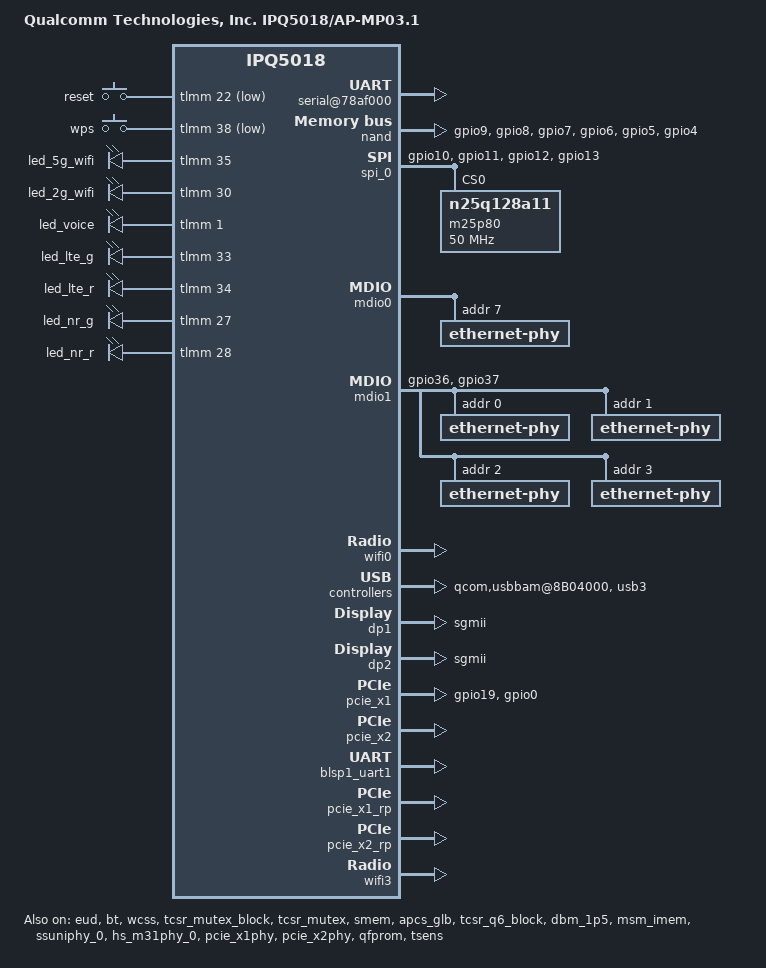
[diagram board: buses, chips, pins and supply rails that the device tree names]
/dts-v1/;
/* Copyright (c) 2018-2020, The Linux Foundation. All rights reserved.
 *
 * Permission to use, copy, modify, and/or distribute this software for any
 * purpose with or without fee is hereby granted, provided that the above
 * copyright notice and this permission notice appear in all copies.
 *
 * THE SOFTWARE IS PROVIDED "AS IS" AND THE AUTHOR DISCLAIMS ALL WARRANTIES
 * WITH REGARD TO THIS SOFTWARE INCLUDING ALL IMPLIED WARRANTIES OF
 * MERCHANTABILITY AND FITNESS. IN NO EVENT SHALL THE AUTHOR BE LIABLE FOR
 * ANY SPECIAL, DIRECT, INDIRECT, OR CONSEQUENTIAL DAMAGES OR ANY DAMAGES
 * WHATSOEVER RESULTING FROM LOSS OF USE, DATA OR PROFITS, WHETHER IN AN
 * ACTION OF CONTRACT, NEGLIGENCE OR OTHER TORTIOUS ACTION, ARISING OUT OF
 * OR IN CONNECTION WITH THE USE OR PERFORMANCE OF THIS SOFTWARE.
 */

#include "qcom-ipq5018.dtsi"

/ {
	#address-cells = <0x2>;
	#size-cells = <0x2>;
	model = "Qualcomm Technologies, Inc. IPQ5018/AP-MP03.1";
	compatible = "qcom,ipq5018-mp03.1", "qcom,ipq5018";
	interrupt-parent = <&intc>;
	#ifdef __IPQ_MEM_PROFILE_256_MB__
	AUTO_MOUNT;
	#endif

	aliases {
		sdhc1 = &sdhc_1; /* SDC1 eMMC slot */
		serial0 = &blsp1_uart1;
		serial1 = &blsp1_uart2;
		ethernet0 = "/soc/dp1";
		ethernet1 = "/soc/dp2";
	};

	chosen {
		bootargs = "console=ttyMSM0,115200,n8 rw init=/init";
	#ifdef __IPQ_MEM_PROFILE_256_MB__
		bootargs-append = " swiotlb=1";
	#else
		bootargs-append = " swiotlb=1 coherent_pool=2M";
	#endif
		stdout-path = "serial0";
	};

	reserved-memory {
	#ifdef __IPQ_MEM_PROFILE_256_MB__
	/*            256 MB Profile
	 * +=========+==============+========================+
	 * |        |              |                         |
	 * | Region | Start Offset |          Size           |
	 * |        |              |                         |
	 * +--------+--------------+-------------------------+
	 * |        |              |                         |
	 * |        |              |                         |
	 * |  NSS   |  0x40000000  |          8MB            |
	 * |        |              |                         |
	 * |        |              |                         |
	 * +--------+--------------+-------------------------+
	 * |        |              |                         |
	 * |        |              |                         |
	 * |        |              |                         |
	 * |        |              |                         |
	 * | Linux  |  0x40800000  | Depends on total memory |
	 * |        |              |                         |
	 * |        |              |                         |
	 * |        |              |                         |
	 * +        |              |                         |
	 * +--------+--------------+-------------------------+
	 * |        |              |                         |
	 * | uboot  |  0x4A600000  |           4MB           |
	 * |        |              |                         |
	 * +--------+--------------+-------------------------+
	 * |  SBL   |  0x4AA00000  |           1MB           |
	 * +--------+--------------+-------------------------+
	 * |  smem  |  0x4AB00000  |           1MB           |
	 * +--------+--------------+-------------------------+
	 * |        |              |                         |
	 * |   TZ   |  0x4AC00000  |           4MB           |
	 * |        |              |                         |
	 * +--------+--------------+-------------------------+
	 * |        |              |                         |
	 * |        |              |                         |
	 * |        |              |                         |
	 * |   Q6   |  0x4B000000  |          23MB           |
	 * |        |              |                         |
	 * |        |              |                         |
	 * |        |              |                         |
	 * +--------+--------------+-------------------------+
	 * | M3 Dump| 0x4C700000   |          1MB            |
	 * +--------+--------------+-------------------------+
	 * | QDSS   | 0x4C800000   |          1MB            |
	 * +--------+--------------+-------------------------+
	 * |        |              |                         |
	 * |QCN9000 |  0x4C900000  |          17MB           |
	 * |        |              |                         |
	 * +--------+--------------+-------------------------+
	 * |        |              |                         |
	 * |  MHI1  |  0x4DA00000  |          16MB           |
	 * |        |              |                         |
	 * +--------+--------------+-------------------------+
	 * |                                                 |
	 * |      Rest of the memory for Linux               |
	 * |                                                 |
	 * +=================================================+
	 */
		q6_region: wcnss@4b000000 {
			no-map;
			reg = <0x0 0x4b000000 0x0 0x01700000>;
		};

		m3_dump@4c700000 {
			no-map;
			reg = <0x0 0x4C700000 0x0 0x100000>;
		};

		q6_etr_region:q6_etr_dump@4c800000 {
			no-map;
			reg = <0x0 0x4c800000 0x0 0x100000>;
		};

		qcn9000_pcie0@4c900000 {
			no-map;
			reg = <0x0 0x4C900000 0x0 0x01100000>;
		};

		mhi_region1: dma_pool1@4da00000 {
			compatible = "shared-dma-pool";
			no-map;
			reg = <0x0 0x4da00000 0x0 0x01000000>;
		};
	#elif __IPQ_MEM_PROFILE_512_MB__
	/*                      512 MB Profile
	 * +=========+==============+========================+
	 * |        |              |                         |
	 * | Region | Start Offset |          Size           |
	 * |        |              |                         |
	 * +--------+--------------+-------------------------+
	 * |        |              |                         |
	 * |        |              |                         |
	 * |  NSS   |  0x40000000  |          16MB           |
	 * |        |              |                         |
	 * |        |              |                         |
	 * +--------+--------------+-------------------------+
	 * |        |              |                         |
	 * |        |              |                         |
	 * |        |              |                         |
	 * |        |              |                         |
	 * | Linux  |  0x41000000  | Depends on total memory |
	 * |        |              |                         |
	 * |        |              |                         |
	 * |        |              |                         |
	 * |        |              |                         |
	 * +--------+--------------+-------------------------+
	 * |        |              |                         |
	 * | uboot  |  0x4A600000  |           4MB           |
	 * |        |              |                         |
	 * +--------+--------------+-------------------------+
	 * |  SBL   |  0x4AA00000  |           1MB           |
	 * +--------+--------------+-------------------------+
	 * |  smem  |  0x4AB00000  |           1MB           |
	 * +--------+--------------+-------------------------+
	 * |        |              |                         |
	 * |   TZ   |  0x4AC00000  |           4MB           |
	 * |        |              |                         |
	 * +--------+--------------+-------------------------+
	 * |        |              |                         |
	 * |        |              |                         |
	 * |        |              |                         |
	 * |   Q6   |  0x4B000000  |          24MB           |
	 * |        |              |                         |
	 * |        |              |                         |
	 * +--------+--------------+-------------------------+
	 * | M3 Dump|  0x4C800000  |           1MB           |
	 * +--------+--------------+-------------------------+
	 * |  QDSS  |  0x4C900000  |           1MB           |
	 * +--------+--------------+-------------------------+
	 * | caldb  |  0x4CA00000  |           2MB           |
	 * +--------+--------------+-------------------------+
	 * |        |              |                         |
	 * |QCN9000 |  0x4CC00000  |          30MB           |
	 * |        |              |                         |
	 * +--------+--------------+-------------------------+
	 * |        |              |                         |
	 * |  MHI1  |  0x4EA00000  |          16MB           |
	 * |        |              |                         |
	 * +--------+--------------+-------------------------+
	 * |                                                 |
	 * |      Rest of the memory for Linux               |
	 * |                                                 |
	 * +=================================================+
	 */
		q6_region: wcnss@4b000000 {
			no-map;
			reg = <0x0 0x4b000000 0x0 0x01800000>;
		};

		m3_dump@4c800000 {
			no-map;
			reg = <0x0 0x4c800000 0x0 0x100000>;
		};

		q6_etr_region:q6_etr_dump@4c900000 {
			no-map;
			reg = <0x0 0x4c900000 0x0 0x100000>;
		};

		q6_caldb_region:q6_caldb_region@4ca00000 {
			no-map;
			reg = <0x0 0x4ca00000 0x0 0x200000>;
		};

		qcn9000_pcie0@4cc00000 {
			no-map;
			reg = <0x0 0x4CC00000 0x0 0x01E00000>;
		};

		mhi_region1: dma_pool1@4ea00000 {
			compatible = "shared-dma-pool";
			no-map;
			reg = <0x0 0x4ea00000 0x0 0x01000000>;
		};
	#else
	/*                      1G Profile
	 * +=========+==============+========================+
	 * |        |              |                         |
	 * | Region | Start Offset |          Size           |
	 * |        |              |                         |
	 * +--------+--------------+-------------------------+
	 * |        |              |                         |
	 * |        |              |                         |
	 * |  NSS   |  0x40000000  |          16MB           |
	 * |        |              |                         |
	 * |        |              |                         |
	 * +--------+--------------+-------------------------+
	 * |        |              |                         |
	 * |        |              |                         |
	 * |        |              |                         |
	 * |        |              |                         |
	 * | Linux  |  0x41000000  | Depends on total memory |
	 * |        |              |                         |
	 * |        |              |                         |
	 * |        |              |                         |
	 * |        |              |                         |
	 * +--------+--------------+-------------------------+
	 * |        |              |                         |
	 * | uboot  |  0x4A600000  |           4MB           |
	 * |        |              |                         |
	 * +--------+--------------+-------------------------+
	 * |  SBL   |  0x4AA00000  |           1MB           |
	 * +--------+--------------+-------------------------+
	 * |  smem  |  0x4AB00000  |           1MB           |
	 * +--------+--------------+-------------------------+
	 * |        |              |                         |
	 * |   TZ   |  0x4AC00000  |           4MB           |
	 * |        |              |                         |
	 * +--------+--------------+-------------------------+
	 * |        |              |                         |
	 * |        |              |                         |
	 * |        |              |                         |
	 * |   Q6   |  0x4B000000  |          24MB           |
	 * |        |              |                         |
	 * |        |              |                         |
	 * +--------+--------------+-------------------------+
	 * | M3 Dump|  0x4C800000  |           1MB           |
	 * +--------+--------------+-------------------------+
	 * |  QDSS  |  0x4C900000  |           1MB           |
	 * +--------+--------------+-------------------------+
	 * | caldb  |  0x4CA00000  |           2MB           |
	 * +--------+--------------+-------------------------+
	 * |        |              |                         |
	 * |QCN9000 |  0x4CC00000  |          45MB           |
	 * |        |              |                         |
	 * +--------+--------------+-------------------------+
	 * |        |              |                         |
	 * |  MHI1  |  0x4F900000  |          24MB           |
	 * |        |              |                         |
	 * +--------+--------------+-------------------------+
	 * |                                                 |
	 * |      Rest of the memory for Linux               |
	 * |                                                 |
	 * +=================================================+
	 */
		q6_region: wcnss@4b000000 {
			no-map;
			reg = <0x0 0x4b000000 0x0 0x01800000>;
		};

		m3_dump@4c800000 {
			no-map;
			reg = <0x0 0x4c800000 0x0 0x100000>;
		};

		q6_etr_region:q6_etr_dump@4c900000 {
			no-map;
			reg = <0x0 0x4c900000 0x0 0x100000>;
		};

		q6_caldb_region:q6_caldb_region@4ca00000 {
			no-map;
			reg = <0x0 0x4ca00000 0x0 0x200000>;
		};

		qcn9000_pcie0@4cc00000 {
			no-map;
			reg = <0x0 0x4CC00000 0x0 0x02D00000>;
		};

		mhi_region1: dma_pool1@4F900000 {
			compatible = "shared-dma-pool";
			no-map;
			reg = <0x0 0x4F900000 0x0 0x01800000>;
		};
	#endif
	};

	soc {
		serial@78af000 {
			status = "ok";
		};

		blsp1_uart2: serial@78b0000 {
			pinctrl-0 = <&blsp1_uart_pins>;
			pinctrl-names = "default";
		};

		qpic_bam: dma@7984000{
			status = "ok";
		};

		nand: qpic-nand@79b0000 {
			pinctrl-0 = <&qspi_nand_pins>;
			pinctrl-names = "default";
			status = "ok";
		};

		spi_0: spi@78b5000 { /* BLSP1 QUP0 */
			pinctrl-0 = <&blsp0_spi_pins>;
			pinctrl-names = "default";
			cs-select = <0>;
			status = "ok";

			m25p80@0 {
				#address-cells = <1>;
				#size-cells = <1>;
				reg = <0>;
				compatible = "n25q128a11";
				linux,modalias = "m25p80", "n25q128a11";
				spi-max-frequency = <50000000>;
				use-default-sizes;
			};
		};

		mdio0: mdio@88000 {
			status = "ok";

			ethernet-phy@0 {
				reg = <7>;
			};
		};

		mdio1: mdio@90000 {
			status = "ok";
			pinctrl-0 = <&mdio1_pins>;
			pinctrl-names = "default";
			phy-reset-gpio = <&tlmm 39 0>;
			ethernet-phy@0 {
				reg = <0>;
			};

			ethernet-phy@1 {
				reg = <1>;
			};

			ethernet-phy@2 {
				reg = <2>;
			};

			ethernet-phy@3 {
				reg = <3>;
			};
		};

		ess-instance {
			num_devices = <0x2>;
			ess-switch@0x39c00000 {
				compatible = "qcom,ess-switch-ipq50xx";
				device_id = <0>;
				switch_mac_mode = <0xf>; /* mac mode for uniphy instance*/
				cmnblk_clk = "internal_96MHz"; /* cmnblk clk*/
				qcom,port_phyinfo {
					port@0 {
						port_id = <1>;
						phy_address = <7>;
					};
					port@1 {
						port_id = <2>;
						forced-speed = <1000>;
						forced-duplex = <1>;
					};
				};
				led_source@0 {
					source = <0>;
					mode = "normal";
					speed = "all";
					blink_en = "enable";
					active = "high";
				};
			};
			ess-switch1@1 {
				compatible = "qcom,ess-switch-qca83xx";
				device_id = <1>;
				switch_access_mode = "mdio";
				mdio-bus = <&mdio1>;
				reset_gpio = <0x27>;
				switch_cpu_bmp = <0x40>;  /* cpu port bitmap */
				switch_lan_bmp = <0x1e>; /* lan port bitmap */
				switch_wan_bmp = <0x0>;  /* wan port bitmap */
				qca,ar8327-initvals = <
						0x00004 0x7600000   /* PAD0_MODE */
						0x00008 0x1000000   /* PAD5_MODE */
						0x0000c 0x80        /* PAD6_MODE */
						0x00010 0x2613a0    /* PORT6 FORCE MODE*/
						0x000e4 0xaa545     /* MAC_POWER_SEL */
						0x000e0 0xc74164de  /* SGMII_CTRL */
						0x0007c 0x4e        /* PORT0_STATUS */
						0x00094 0x4e        /* PORT6_STATUS */
				>;
				qcom,port_phyinfo {
					port@0 {
						port_id = <1>;
						phy_address = <0>;
					};
					port@1 {
						port_id = <2>;
						phy_address = <1>;
					};
					port@2 {
						port_id = <3>;
						phy_address = <2>;
					};
					port@3 {
						port_id = <4>;
						phy_address = <3>;
					};
				};
			};
		};

		wifi0: wifi@c000000 {
			qcom,bdf-addr = <0x4BA00000 0x4BA00000 0x4BA00000
						0x0 0x0>;
			qcom,caldb-addr = <0x4CA00000 0x4CA00000 0x4CA00000
						0x0 0x0>;
			qcom,caldb-size = <0x200000>;
			status = "ok";
		};

		ess-uniphy@98000 {
			status = "disabled";
		};

		qcom,sps {
			status = "ok";
		};

		qcom,usbbam@8B04000 {
			status = "ok";
		};

		qcom,diag@0 {
			status = "ok";
		};

		dp1 {
			device_type = "network";
			compatible = "qcom,nss-dp";
			clocks = <&gcc GCC_SNOC_GMAC0_AXI_CLK>;
			clock-names = "nss-snoc-gmac-axi-clk";
			qcom,id = <1>;
			reg = <0x39C00000 0x10000>;
			interrupts = <GIC_SPI 101 IRQ_TYPE_LEVEL_HIGH>;
			qcom,mactype = <2>;
			qcom,link-poll = <1>;
			qcom,phy-mdio-addr = <7>;
			mdio-bus = <&mdio0>;
			local-mac-address = [000000000000];
			phy-mode = "sgmii";
		};

		dp2 {
			device_type = "network";
			compatible = "qcom,nss-dp";
			clocks = <&gcc GCC_SNOC_GMAC1_AXI_CLK>;
			clock-names = "nss-snoc-gmac-axi-clk";
			qcom,id = <2>;
			reg = <0x39D00000 0x10000>;
			interrupts = <GIC_SPI 109 IRQ_TYPE_LEVEL_HIGH>;
			qcom,mactype = <2>;
			local-mac-address = [000000000000];
			phy-mode = "sgmii";
		};

		rpm_etm0 {
			status = "disabled";
		};
	};

	thermal-zones {
		status = "ok";
	};
};

&tlmm {
	pinctrl-0 = <&blsp0_uart_pins &phy_led_pins>;
	pinctrl-names = "default";

	blsp0_uart_pins: blsp0_uart_pins {
		blsp0_uart_rx_tx {
			pins = "gpio20", "gpio21";
			function = "blsp0_uart0";
			drive-strength = <8>;
			bias-pull-up;
		};
	};

	blsp1_uart_pins: blsp1_uart_pins {
		blsp1_uart_rx_tx {
			pins = "gpio23", "gpio25", "gpio24", "gpio26";
			function = "blsp1_uart2";
			bias-disable;
		};
	};

	blsp0_spi_pins: blsp0_spi_pins {
		mux {
			pins = "gpio10", "gpio11", "gpio12", "gpio13";
			function = "blsp0_spi";
			drive-strength = <2>;
			bias-disable;
		};
	};

	qspi_nand_pins: qspi_nand_pins {
		qspi_clock {
				pins = "gpio9";
				function = "qspi_clk";
				drive-strength = <8>;
				bias-disable;
			};
		qspi_cs {
				pins = "gpio8";
				function = "qspi_cs";
				drive-strength = <8>;
				bias-disable;
			};
		qspi_data_0 {
				pins = "gpio7";
				function = "qspi0";
				drive-strength = <8>;
				bias-disable;
			};
		qspi_data_1 {
				pins = "gpio6";
				function = "qspi1";
				drive-strength = <8>;
				bias-disable;
			};
		qspi_data_2 {
				pins = "gpio5";
				function = "qspi2";
				drive-strength = <8>;
				bias-disable;
			};
		qspi_data_3 {
				pins = "gpio4";
				function = "qspi3";
				drive-strength = <8>;
				bias-disable;
			};
	};

	mdio1_pins: mdio_pinmux {
		mux_0 {
			pins = "gpio36";
			function = "mdc";
			drive-strength = <8>;
			bias-pull-up;
		};

		mux_1 {
			pins = "gpio37";
			function = "mdio";
			drive-strength = <8>;
			bias-pull-up;
		};
	};

	ap2mdm_status: ap2mdm_status {
		pins = "gpio25";
		function = "gpio";
		drive-strength = <8>;
		bias-pull-up;
		output-high;
	};

	mdm2ap_e911_status: mdm2ap_e911_status {
		pins = "gpio0";
		drive-strength = <8>;
		bias-pull-down;
	};

	pcie_wake_pins: pcie1_wake_gpio {
		pins = "gpio19";
		function = "pcie1_wake";
		drive-strength = <8>;
		bias-pull-up;
	};

	phy_led_pins: phy_led_pins {
		gephy_led_pin {
			pins = "gpio46";
			function = "led0";
			drive-strength = <8>;
			bias-pull-down;
		};
	};

	i2c_pins: i2c_pins {
		i2c_scl {
			pins = "gpio25";
			function = "blsp2_i2c1";
			drive-strength = <8>;
			bias-disable;
		};

		i2c_sda {
			pins = "gpio26";
			function = "blsp2_i2c1";
			drive-strength = <8>;
			bias-disable;
		};
	};

	button_pins: button_pins {
		reset_button{
			pins = "gpio22";
			function = "gpio";
			drive-strength = <8>;
			bias-pull-up;
		};
		
		wps_button {
			pins = "gpio38";
			function = "gpio";
			drive-strength = <8>;
			bias-pull-up;
		};
		
	};
	
	leds_pins: leds_pins {
		led_5g_wifi {
			pins = "gpio35";
			function = "gpio";
			drive-strength = <8>;
			bias-pull-down;
		};
		led_2g_wifi {
			pins = "gpio30";
			function = "gpio";
			drive-strength = <8>;
			bias-pull-down;
		};
		led_lte_g {
			pins = "gpio33";
			function = "gpio";
			drive-strength = <8>;
			bias-pull-down;
		};
		led_lte_r {
			pins = "gpio34";
			function = "gpio";
			drive-strength = <8>;
			bias-pull-down;
		};
		led_nr_g {
			pins = "gpio27";
			function = "gpio";
			drive-strength = <8>;
			bias-pull-down;
		};
		led_nr_r {
			pins = "gpio28";
			function = "gpio";
			drive-strength = <8>;
			bias-pull-down;
		};
		led_voice {
			pins = "gpio1";
			function = "gpio";
			drive-strength = <8>;
			bias-pull-down;
		};	
	};
	
};

&soc {
	gpio_keys {
		compatible = "gpio-keys-polled";
		pinctrl-0 = <&button_pins>;
		pinctrl-names = "default";
		poll-interval = <100>;

		button@0 {
			label = "reset";
			linux,code = <KEY_RESTART>;
			gpios = <&tlmm 22 GPIO_ACTIVE_LOW>;
			linux,input-type = <1>;
			debounce-interval = <60>;
		};
		button@1 {
			label = "wps";
			linux,code = <KEY_WPS_BUTTON>;
			gpios = <&tlmm 38 GPIO_ACTIVE_LOW>;
			linux,input-type = <1>;
			debounce-interval = <60>;
		};
		
	};
	
	leds {
		compatible = "gpio-leds";
		pinctrl-0 = <&leds_pins>;
		pinctrl-names = "default";

		led@35 {
			label = "led_5g_wifi";
			gpios = <&tlmm 35 GPIO_ACTIVE_HIGH>;
			linux,default-trigger = "led_5g_wifi";
			default-state = "off";
		};
		led@30 {
			label = "led_2g_wifi";
			gpios = <&tlmm 30 GPIO_ACTIVE_HIGH>;
			linux,default-trigger = "led_2g_wifi";
			default-state = "off";
		};
		led@1 {
			label = "led_voice";
			gpios = <&tlmm 1 GPIO_ACTIVE_HIGH>;
			linux,default-trigger = "led_voice";
			default-state = "off";
		};
		led@33 {
			label = "led_lte_g";
			gpios = <&tlmm 33 GPIO_ACTIVE_HIGH>;
			linux,default-trigger = "led_lte_g";
			default-state = "off";
		};		
		led@34 {
			label = "led_lte_r";
			gpios = <&tlmm 34 GPIO_ACTIVE_HIGH>;
			linux,default-trigger = "led_lte_r";
			default-state = "off";
		};	
		led@27 {
			label = "led_nr_g";
			gpios = <&tlmm 27 GPIO_ACTIVE_HIGH>;
			linux,default-trigger = "led_nr_g";
			default-state = "off";
		};
		led@28 {
			label = "led_nr_r";
			gpios = <&tlmm 28 GPIO_ACTIVE_HIGH>;
			linux,default-trigger = "led_nr_r";
			default-state = "off";
		};
	};

};

&usb3 {
/*
	qcom,multiplexed-phy;
	qcom,phy-mux-regs = <&tcsr_q6_block 0x2540>;
*/
	device-power-gpio = <&tlmm 24 1>;
	status = "ok";
};

&eud {
	status = "ok";
};

&pcie_x1 {
	interrupts-extended = <&intc GIC_SPI 111 IRQ_TYPE_NONE>,
			<&intc 0 416 IRQ_TYPE_NONE>, <&intc 0 417 IRQ_TYPE_NONE>,
			<&intc 0 418 IRQ_TYPE_NONE>, <&intc 0 419 IRQ_TYPE_NONE>,
			<&intc 0 420 IRQ_TYPE_NONE>, <&intc 0 421 IRQ_TYPE_NONE>,
			<&intc 0 422 IRQ_TYPE_NONE>, <&intc 0 423 IRQ_TYPE_NONE>,
			<&intc 0 424 IRQ_TYPE_NONE>, <&intc 0 425 IRQ_TYPE_NONE>,
			<&intc 0 426 IRQ_TYPE_NONE>, <&intc 0 427 IRQ_TYPE_NONE>,
			<&intc 0 428 IRQ_TYPE_NONE>, <&intc 0 429 IRQ_TYPE_NONE>,
			<&intc 0 430 IRQ_TYPE_NONE>, <&intc 0 431 IRQ_TYPE_NONE>,
			<&intc 0 432 IRQ_TYPE_NONE>, <&intc 0 433 IRQ_TYPE_NONE>,
			<&intc 0 434 IRQ_TYPE_NONE>, <&intc 0 435 IRQ_TYPE_NONE>,
			<&intc 0 436 IRQ_TYPE_NONE>, <&intc 0 437 IRQ_TYPE_NONE>,
			<&intc 0 438 IRQ_TYPE_NONE>, <&intc 0 439 IRQ_TYPE_NONE>,
			<&intc 0 440 IRQ_TYPE_NONE>, <&intc 0 441 IRQ_TYPE_NONE>,
			<&intc 0 442 IRQ_TYPE_NONE>, <&intc 0 443 IRQ_TYPE_NONE>,
			<&intc 0 444 IRQ_TYPE_NONE>, <&intc 0 445 IRQ_TYPE_NONE>,
			<&intc 0 446 IRQ_TYPE_NONE>, <&intc 0 447 IRQ_TYPE_NONE>,
			<&tlmm 19 0>, <&tlmm 0 0>;

	interrupt-names = "msi", "msi_0", "msi_1",
			"msi_2", "msi_3", "msi_4",
			"msi_5", "msi_6", "msi_7",
			 "msi_8", "msi_9", "msi_10",
			"msi_11", "msi_12", "msi_13",
			"msi_14", "msi_15", "msi_16",
			"msi_17", "msi_18", "msi_19",
			"msi_20", "msi_21", "msi_22",
			"msi_23", "msi_24", "msi_25",
			"msi_26", "msi_27", "msi_28",
			"msi_29", "msi_30", "msi_31",
			"wake_gpio", "mdm2ap_e911";

	pinctrl-0 = <&pcie_wake_pins &mdm2ap_e911_status>;
	e911-gpio =  <&tlmm 0 GPIO_ACTIVE_HIGH>;
	pinctrl-names = "default";
	status = "ok";
	perst-gpio = <&tlmm 18 1>;
	slot_id = <0>;
};

&pcie_x2 {
	status = "ok";
	perst-gpio = <&tlmm 15 1>;
};

&bt {
	status = "ok";
};

&wcss {
	status = "ok";
};

&q6v5_wcss {
	status = "disabled";
};

&q6v5_m3 {
	status = "disabled";
};

&tcsr_mutex_block {
	status = "ok";
};

&tcsr_mutex {
	status = "ok";
};

&smem {
	status = "ok";
};

&apcs_glb {
	status = "ok";
};

&tcsr_q6_block {
	status = "ok";
};

&qcom_q6v5_wcss {
	#ifdef __IPQ_MEM_PROFILE_256_MB__
		memory-region = <&q6_region>, <&q6_etr_region>;
	#else
		memory-region = <&q6_region>, <&q6_etr_region>,
				<&q6_caldb_region>;
	#endif
	/* IPQ5018 */
	q6v5_wcss_userpd1 {
		m3_firmware = "IPQ5018/m3_fw.mdt";
		interrupts-extended = <&wcss_smp2p_in 8 0>,
			<&wcss_smp2p_in 9 0>,
			<&wcss_smp2p_in 12 0>,
			<&wcss_smp2p_in 11 0>;
		interrupt-names ="fatal",
			"ready",
			"spawn_ack",
			"stop-ack";
		qcom,smem-states = <&wcss_smp2p_out 8>,
			<&wcss_smp2p_out 9>,
			<&wcss_smp2p_out 10>;
		qcom,smem-state-names = "shutdown",
			"stop",
			"spawn";
		qca,asid = <1>;
		qca,auto-restart;
		qca,int_radio;
	};
};

&i2c_0 {
	pinctrl-0 = <&i2c_pins>;
	pinctrl-names = "default";
	status = "disabled";
};

&dbm_1p5 {
	status = "ok";
};

&msm_imem {
	status = "ok";
};

&blsp1_uart1 {
	status = "ok";
};

&ssuniphy_0 {
	status = "ok";
};

&hs_m31phy_0 {
	status = "ok";
};

&pcie_x1phy {
	status = "ok";
};

&pcie_x2phy {
	status = "ok";
};

&pcie_x1_rp {
        status = "ok";
	aliases {
		mhi-netdev0 = &mhi_netdev_0;
		mhi_netdev2 = &mhi_netdev_2;
	};

	mhi_0: qcom,mhi@0 {
		reg = <0 0 0 0 0 >;
		ap2mdm = <25>;
		mdm2ap = <23>;

		pinctrl-0 = <&ap2mdm_status>;
		pinctrl-names = "default";
		/* controller specific configuration */
		qcom,iommu-dma = "disabled";

		/* mhi bus specific settings */
		mhi,max-channels = <110>;
		mhi,timeout = <60000>;
		mhi,ssr-negotiate;

		mhi_channels: mhi_channels {
			#address-cells = <1>;
			#size-cells = <0>;

			mhi_chan@0 {
				reg = <0>;
				label = "LOOPBACK";
				mhi,num-elements = <64>;
				mhi,event-ring = <2>;
				mhi,chan-dir = <1>;
				mhi,data-type = <0>;
				mhi,doorbell-mode = <2>;
				mhi,ee = <0x4>;
			};

			mhi_chan@1 {
				reg = <1>;
				label = "LOOPBACK";
				mhi,num-elements = <64>;
				mhi,event-ring = <2>;
				mhi,chan-dir = <2>;
				mhi,data-type = <0>;
				mhi,doorbell-mode = <2>;
				mhi,ee = <0x4>;
			};

			mhi_chan@2 {
				reg = <2>;
				label = "SAHARA";
				mhi,num-elements = <128>;
				mhi,event-ring = <1>;
				mhi,chan-dir = <1>;
				mhi,data-type = <0>;
				mhi,doorbell-mode = <2>;
				mhi,ee = <0x2>;
			};

			mhi_chan@3 {
				reg = <3>;
				label = "SAHARA";
				mhi,num-elements = <128>;
				mhi,event-ring = <1>;
				mhi,chan-dir = <2>;
				mhi,data-type = <0>;
				mhi,doorbell-mode = <2>;
				mhi,ee = <0x2>;
			};

			mhi_chan@4 {
				reg = <4>;
				label = "DIAG";
				mhi,num-elements = <64>;
				mhi,event-ring = <1>;
				mhi,chan-dir = <1>;
				mhi,data-type = <0>;
				mhi,doorbell-mode = <2>;
				mhi,ee = <0x4>;
			};

			mhi_chan@5 {
				reg = <5>;
				label = "DIAG";
				mhi,num-elements = <64>;
				mhi,event-ring = <3>;
				mhi,chan-dir = <2>;
				mhi,data-type = <0>;
				mhi,doorbell-mode = <2>;
				mhi,ee = <0x4>;
			};

			mhi_chan@14 {
				reg = <14>;
				label = "QMI0";
				mhi,num-elements = <64>;
				mhi,event-ring = <1>;
				mhi,chan-dir = <1>;
				mhi,data-type = <0>;
				mhi,doorbell-mode = <2>;
				mhi,ee = <0x4>;
			};

			mhi_chan@15 {
				reg = <15>;
				label = "QMI0";
				mhi,num-elements = <64>;
				mhi,event-ring = <2>;
				mhi,chan-dir = <2>;
				mhi,data-type = <0>;
				mhi,doorbell-mode = <2>;
				mhi,ee = <0x4>;
			};

			mhi_chan@16 {
				reg = <16>;
				label = "QMI1";
				mhi,num-elements = <64>;
				mhi,event-ring = <3>;
				mhi,chan-dir = <1>;
				mhi,data-type = <0>;
				mhi,doorbell-mode = <2>;
				mhi,ee = <0x4>;
			};

			mhi_chan@17 {
				reg = <17>;
				label = "QMI1";
				mhi,num-elements = <64>;
				mhi,event-ring = <3>;
				mhi,chan-dir = <2>;
				mhi,data-type = <0>;
				mhi,doorbell-mode = <2>;
				mhi,ee = <0x4>;
			};

			mhi_chan@18 {
				reg = <18>;
				label = "IP_CTRL";
				mhi,num-elements = <64>;
				mhi,event-ring = <1>;
				mhi,chan-dir = <1>;
				mhi,data-type = <0>;
				mhi,doorbell-mode = <2>;
				mhi,ee = <0x4>;
			};

			mhi_chan@19 {
				reg = <19>;
				label = "IP_CTRL";
				mhi,num-elements = <64>;
				mhi,event-ring = <1>;
				mhi,chan-dir = <2>;
				mhi,data-type = <0>;
				mhi,doorbell-mode = <2>;
				mhi,ee = <0x4>;
				mhi,auto-queue;
			};

			mhi_chan@20 {
				reg = <20>;
				label = "IPCR";
				mhi,num-elements = <64>;
				mhi,event-ring = <2>;
				mhi,chan-dir = <1>;
				mhi,data-type = <1>;
				mhi,doorbell-mode = <2>;
				mhi,ee = <0x4>;
				mhi,auto-start;
			};

			mhi_chan@21 {
				reg = <21>;
				label = "IPCR";
				mhi,num-elements = <64>;
				mhi,event-ring = <2>;
				mhi,chan-dir = <2>;
				mhi,data-type = <0>;
				mhi,doorbell-mode = <2>;
				mhi,ee = <0x4>;
				mhi,auto-queue;
				mhi,auto-start;
			};

			mhi_chan@46 {
				reg = <46>;
				label = "IP_SW0";
				mhi,num-elements = <512>;
				mhi,event-ring = <4>;
				mhi,chan-dir = <1>;
				mhi,data-type = <1>;
				mhi,doorbell-mode = <2>;
				mhi,ee = <0x4>;
			};

			mhi_chan@47 {
				reg = <47>;
				label = "IP_SW0";
				mhi,num-elements = <512>;
				mhi,event-ring = <5>;
				mhi,chan-dir = <2>;
				mhi,data-type = <4>;
				mhi,doorbell-mode = <2>;
				mhi,ee = <0x4>;
			};

			mhi_chan@100 {
				reg = <100>;
				label = "IP_HW0";
				mhi,num-elements = <512>;
				mhi,event-ring = <6>;
				mhi,chan-dir = <1>;
				mhi,data-type = <1>;
				mhi,doorbell-mode = <3>;
				mhi,ee = <0x4>;
				mhi,db-mode-switch;
			};

			mhi_chan@101 {
				reg = <101>;
				label = "IP_HW0";
				mhi,num-elements = <512>;
				mhi,event-ring = <7>;
				mhi,chan-dir = <2>;
				mhi,data-type = <4>;
				mhi,doorbell-mode = <3>;
				mhi,ee = <0x4>;
			};

			mhi_chan@102 {
				reg = <102>;
				label = "IP_HW_ADPL";
				mhi,event-ring = <8>;
				mhi,chan-dir = <2>;
				mhi,data-type = <3>;
				mhi,ee = <0x4>;
				mhi,offload-chan;
				mhi,lpm-notify;
			};

			mhi_chan@105 {
				reg = <105>;
				label = "RMNET_CTL";
				mhi,num-elements = <128>;
				mhi,event-ring = <10>;
				mhi,chan-dir = <1>;
				mhi,data-type = <1>;
				mhi,doorbell-mode = <2>;
				mhi,ee = <0x4>;
			};

			mhi_chan@106 {
				reg = <106>;
				label = "RMNET_CTL";
				mhi,num-elements = <128>;
				mhi,event-ring = <11>;
				mhi,chan-dir = <2>;
				mhi,data-type = <0>;
				mhi,doorbell-mode = <2>;
				mhi,ee = <0x4>;
			};

		};

		mhi_events: mhi_events {
			#address-cells = <1>;
			#size-cells = <0>;

			mhi_event@0 {
				reg = <0>;
				mhi,num-elements = <32>;
				mhi,intmod = <1>;
				mhi,msi = <1>;
				mhi,priority = <1>;
				mhi,brstmode = <2>;
				mhi,data-type = <1>;
			};

			mhi_event@1 {
				mhi,num-elements = <256>;
				mhi,intmod = <1>;
				mhi,msi = <2>;
				mhi,priority = <1>;
				mhi,brstmode = <2>;
			};

			mhi_event@2 {
				mhi,num-elements = <256>;
				mhi,intmod = <1>;
				mhi,msi = <3>;
				mhi,priority = <1>;
				mhi,brstmode = <2>;
			};

			mhi_event@3 {
				mhi,num-elements = <256>;
				mhi,intmod = <1>;
				mhi,msi = <4>;
				mhi,priority = <1>;
				mhi,brstmode = <2>;
			};

			mhi_event@4 {
				mhi,num-elements = <1024>;
				mhi,intmod = <5>;
				mhi,msi = <5>;
				mhi,chan = <46>;
				mhi,priority = <1>;
				mhi,brstmode = <2>;
			};

			mhi_event@5 {
				mhi,num-elements = <1024>;
				mhi,intmod = <5>;
				mhi,msi = <6>;
				mhi,chan = <47>;
				mhi,priority = <1>;
				mhi,brstmode = <2>;
				mhi,client-manage;
			};


			mhi_event@6 {
				mhi,num-elements = <1024>;
				mhi,intmod = <5>;
				mhi,msi = <5>;
				mhi,chan = <100>;
				mhi,priority = <1>;
				mhi,brstmode = <3>;
				mhi,hw-ev;
			};

			mhi_event@7 {
				mhi,num-elements = <1024>;
				mhi,intmod = <5>;
				mhi,msi = <6>;
				mhi,chan = <101>;
				mhi,priority = <1>;
				mhi,brstmode = <3>;
				mhi,client-manage;
				mhi,hw-ev;
			};


			mhi_event@8 {
				mhi,num-elements = <0>;
				mhi,intmod = <0>;
				mhi,msi = <0>;
				mhi,chan = <102>;
				mhi,priority = <1>;
				mhi,brstmode = <3>;
				mhi,hw-ev;
				mhi,client-manage;
				mhi,offload;
			};

			mhi_event@9 {
				mhi,num-elements = <1024>;
				mhi,intmod = <5>;
				mhi,msi = <7>;
				mhi,chan = <103>;
				mhi,priority = <1>;
				mhi,brstmode = <2>;
				mhi,hw-ev;
			};

			mhi_event@10 {
				mhi,num-elements = <1024>;
				mhi,intmod = <1>;
				mhi,msi = <8>;
				mhi,chan = <105>;
				mhi,priority = <0>;
				mhi,brstmode = <2>;
				mhi,hw-ev;
			};

			mhi_event@11 {
				mhi,num-elements = <1024>;
				mhi,intmod = <0>;
				mhi,msi = <9>;
				mhi,chan = <106>;
				mhi,priority = <0>;
				mhi,brstmode = <2>;
				mhi,hw-ev;
			};

			mhi_event@12 {
				mhi,num-elements = <0>;
				mhi,intmod = <0>;
				mhi,msi = <0>;
				mhi,chan = <107>;
				mhi,priority = <1>;
				mhi,brstmode = <3>;
				mhi,hw-ev;
				mhi,client-manage;
				mhi,offload;
			};

			mhi_event@13 {
				mhi,num-elements = <0>;
				mhi,intmod = <0>;
				mhi,msi = <0>;
				mhi,chan = <108>;
				mhi,priority = <1>;
				mhi,brstmode = <3>;
				mhi,hw-ev;
				mhi,client-manage;
				mhi,offload;
			};
		};

		mhi_devices: mhi_devices {
			#address-cells = <1>;
			#size-cells = <0>;

			mhi_netdev_0: mhi_rmnet@0 {
				reg = <0x0>;
				mhi,chan = "IP_HW0";
				mhi,interface-name = "rmnet_mhi";
				mhi,mru = <0x4000>;
				mhi,chain-skb;
			};

			mhi_rmnet@1 {
				reg = <0x1>;
				mhi,chan = "IP_HW0_RSC";
				mhi,mru = <0x8000>;
				mhi,rsc-parent = <&mhi_netdev_0>;
			};

			mhi_netdev_2: mhi_rmnet@2 {
				reg = <0x2>;
				mhi,chan = "IP_SW0";
				mhi,interface-name = "rmnet_mhi_sw";
				mhi,mru = <0x4000>;
				mhi,disable-chain-skb;
			};

			mhi_qrtr {
				mhi,chan = "IPCR";
				qcom,net-id = <3>;
			};
		};
	};
};

&pcie_x2_rp {
	status = "ok";

	mhi_1: qcom,mhi@1 {
		reg = <0 0 0 0 0 >;
		qrtr_instance_id = <0x20>;
		#address-cells = <0x2>;
		#size-cells = <0x2>;
		memory-region = <&mhi_region1>;
#if !defined(__CNSS2__)
		base-addr = <0x4CC00000>;
		m3-dump-addr = <0x4E000000>;
		etr-addr = <0x4E100000>;
		qcom,caldb-addr = <0x4E200000>;
		qcom,tgt-mem-mode = <0x1>;
		mhi,max-channels = <30>;
		mhi,timeout = <10000>;
#endif
	};
};

&wifi0 {
	/* IPQ5018 */
	qcom,board_id = <0x24>;
	status = "ok";
};

&wifi3 {
	/* QCN9000 5G */
	board_id = <0xa0>;
	status = "ok";
};

&qfprom {
	status = "ok";
};

&tsens {
	status = "ok";
};
